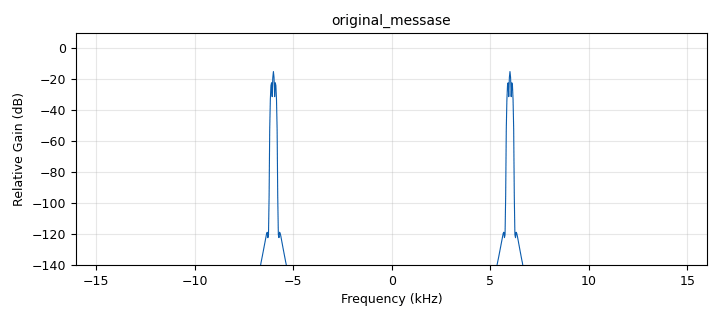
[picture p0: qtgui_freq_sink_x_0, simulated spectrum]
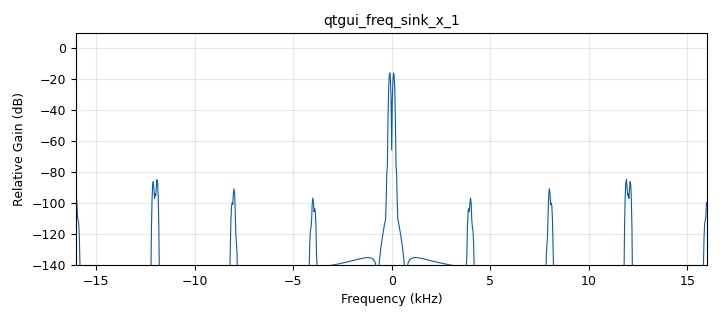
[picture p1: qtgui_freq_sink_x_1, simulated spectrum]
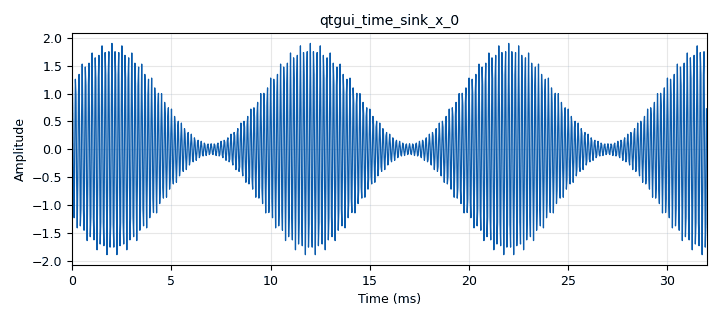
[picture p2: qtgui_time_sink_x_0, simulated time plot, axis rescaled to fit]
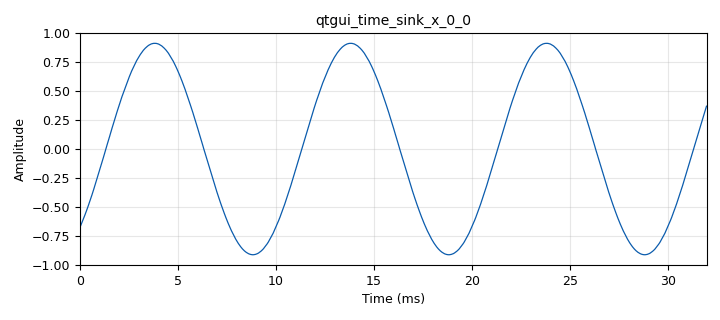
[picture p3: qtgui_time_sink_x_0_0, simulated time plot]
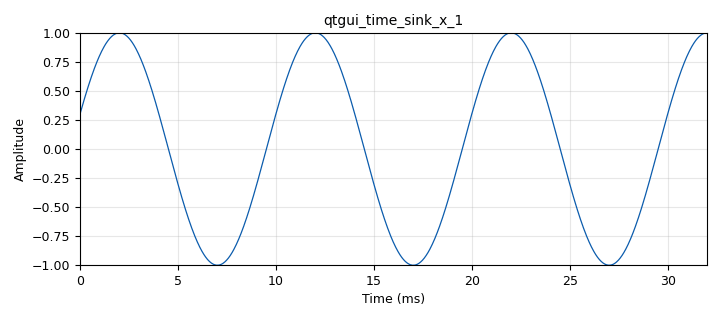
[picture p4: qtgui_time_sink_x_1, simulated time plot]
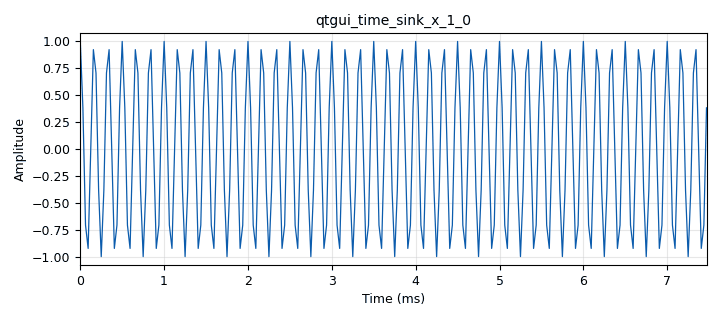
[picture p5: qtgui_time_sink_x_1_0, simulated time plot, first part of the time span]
options:
  parameters:
    author: Rima Thakur
    generate_options: qt_gui
    id: untitled
    output_language: python
    title: AM Modulation
  states: {}

blocks:
- name: samp_rate
  id: variable
  parameters:
    value: '32000'
  states: {}
- name: analog_agc_xx_0
  id: analog_agc_xx
  parameters:
    gain: '2'
    max_gain: '65536'
    rate: '1e-4'
    reference: '1.0'
    type: float
  states: {}
- name: analog_am_demod_cf_0
  id: analog_am_demod_cf
  parameters:
    audio_decim: '1'
    audio_pass: '800'
    audio_stop: '1500'
    chan_rate: 32e3
  states: {}
- name: analog_sig_source_x_0
  id: analog_sig_source_x
  parameters:
    amp: '1'
    freq: '100'
    offset: '0'
    phase: '0'
    samp_rate: samp_rate
    type: float
    waveform: analog.GR_COS_WAVE
  states: {}
- name: analog_sig_source_x_1
  id: analog_sig_source_x
  parameters:
    amp: '1'
    freq: '6000'
    offset: '0'
    phase: '0'
    samp_rate: samp_rate
    type: float
    waveform: analog.GR_COS_WAVE
  states: {}
- name: blocks_add_const_vxx_0
  id: blocks_add_const_vxx
  parameters:
    const: '1'
    type: float
  states: {}
- name: blocks_float_to_complex_0
  id: blocks_float_to_complex
  parameters: {}
  states: {}
- name: blocks_multiply_const_vxx_0
  id: blocks_multiply_const_vxx
  parameters:
    const: '0.9'
    type: float
  states: {}
- name: blocks_multiply_const_vxx_1
  id: blocks_multiply_const_vxx
  parameters:
    const: '2'
    type: float
  states: {}
- name: blocks_multiply_xx_0
  id: blocks_multiply_xx
  parameters:
    type: float
  states: {}
- name: qtgui_freq_sink_x_0
  id: qtgui_freq_sink_x
  parameters:
    bw: samp_rate
    fc: '0'
    fftsize: '1024'
    name: original_messase
    type: float
  states: {}
- name: qtgui_freq_sink_x_1
  id: qtgui_freq_sink_x
  parameters:
    bw: samp_rate
    fc: '0'
    fftsize: '1024'
    type: float
  states: {}
- name: qtgui_time_sink_x_0
  id: qtgui_time_sink_x
  parameters:
    size: '1024'
    srate: samp_rate
    type: float
  states: {}
- name: qtgui_time_sink_x_0_0
  id: qtgui_time_sink_x
  parameters:
    size: '1024'
    srate: samp_rate
    type: float
  states: {}
- name: qtgui_time_sink_x_1
  id: qtgui_time_sink_x
  parameters:
    size: '1024'
    srate: samp_rate
    type: float
  states: {}
- name: qtgui_time_sink_x_1_0
  id: qtgui_time_sink_x
  parameters:
    size: '1024'
    srate: samp_rate
    type: float
  states: {}

connections:
- [analog_agc_xx_0, '0', blocks_float_to_complex_0, '0']
- [analog_am_demod_cf_0, '0', blocks_multiply_const_vxx_1, '0']
- [analog_sig_source_x_0, '0', blocks_multiply_const_vxx_0, '0']
- [analog_sig_source_x_0, '0', qtgui_time_sink_x_1, '0']
- [analog_sig_source_x_1, '0', blocks_multiply_xx_0, '1']
- [analog_sig_source_x_1, '0', qtgui_time_sink_x_1_0, '0']
- [blocks_add_const_vxx_0, '0', blocks_multiply_xx_0, '0']
- [blocks_float_to_complex_0, '0', analog_am_demod_cf_0, '0']
- [blocks_multiply_const_vxx_0, '0', blocks_add_const_vxx_0, '0']
- [blocks_multiply_const_vxx_1, '0', qtgui_freq_sink_x_1, '0']
- [blocks_multiply_const_vxx_1, '0', qtgui_time_sink_x_0_0, '0']
- [blocks_multiply_xx_0, '0', analog_agc_xx_0, '0']
- [blocks_multiply_xx_0, '0', qtgui_freq_sink_x_0, '0']
- [blocks_multiply_xx_0, '0', qtgui_time_sink_x_0, '0']

metadata:
  file_format: 1
  grc_version: 3.10.10.0
